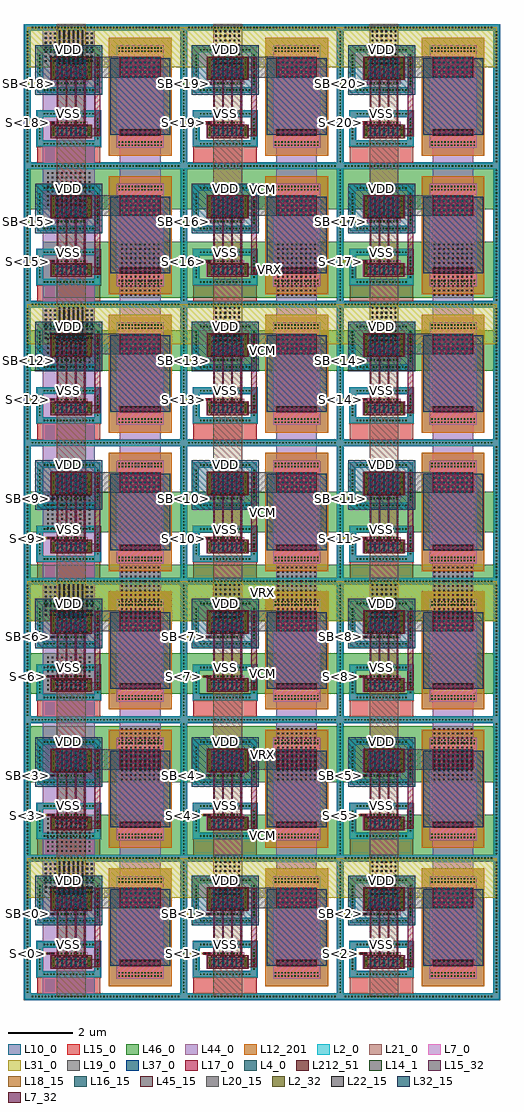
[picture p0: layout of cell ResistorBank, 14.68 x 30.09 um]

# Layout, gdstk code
import gdstk
lib = gdstk.Library(unit=1e-6, precision=1e-09)
def R(c, l, rs):  # rectangles x0, y0, x1, y1
    for r in rs: c.add(gdstk.rectangle(r[:2], r[2:], *l))
def A(c, l, x, y, w, h, nx, ny, dx, dy):  # array of equal rectangles
    R(c, l, [(x+i*dx, y+j*dy, x+i*dx+w, y+j*dy+h) for i in range(nx) for j in range(ny)])
L2_0 = (2, 0)
L2_32 = (2, 32)
L4_0 = (4, 0)
L7_0 = (7, 0)
L7_32 = (7, 32)
L10_0 = (10, 0)
L12_201 = (12, 201)
L14_1 = (14, 1)
L15_0 = (15, 0)
L15_32 = (15, 32)
L16_15 = (16, 15)
L17_0 = (17, 0)
L18_15 = (18, 15)
L19_0 = (19, 0)
L20_15 = (20, 15)
L21_0 = (21, 0)
L22_15 = (22, 15)
L31_0 = (31, 0)
L32_15 = (32, 15)
L37_0 = (37, 0)
L44_0 = (44, 0)
L45_15 = (45, 15)
L46_0 = (46, 0)
L212_51 = (212, 51)

nmosintransmissiongate = lib.new_cell('NMOSInTransmissionGate')
R(nmosintransmissiongate, L2_0, [(-0.588,-0.152,0.588,0.152)])
R(nmosintransmissiongate, L2_32, [(-0.588,-0.152,-0.512,0.152), (0.512,-0.152,0.588,0.152)])
A(nmosintransmissiongate, L7_0, -0.652, -0.209, 0.044, 0.418, 10, 1, 0.14, 0)
A(nmosintransmissiongate, L7_32, -0.512, -0.209, 0.044, 0.057, 8, 1, 0.14, 0)
A(nmosintransmissiongate, L14_1, -0.58, -0.12, 0.04, 0.04, 9, 3, 0.14, 0.1)
A(nmosintransmissiongate, L15_0, -0.585, -0.152, 0.05, 0.304, 9, 1, 0.14, 0)
A(nmosintransmissiongate, L15_32, -0.585, -0.152, 0.05, 0.304, 9, 1, 0.14, 0)
R(nmosintransmissiongate, L212_51, [(-0.63,-0.208,0.63,0.208)])

pmosintransmissiongate = lib.new_cell('PMOSInTransmissionGate')
R(pmosintransmissiongate, L2_0, [(-0.588,-0.304,0.588,0.304)])
R(pmosintransmissiongate, L2_32, [(-0.588,-0.304,-0.512,0.304), (0.512,-0.304,0.588,0.304)])
A(pmosintransmissiongate, L7_0, -0.652, -0.361, 0.044, 0.722, 10, 1, 0.14, 0)
A(pmosintransmissiongate, L7_32, -0.512, -0.361, 0.044, 0.057, 8, 1, 0.14, 0)
R(pmosintransmissiongate, L10_0, [(-0.644,-0.361,0.644,0.361)])
A(pmosintransmissiongate, L14_1, -0.58, -0.27, 0.04, 0.04, 9, 6, 0.14, 0.1)
A(pmosintransmissiongate, L15_0, -0.585, -0.304, 0.05, 0.608, 9, 1, 0.14, 0)
A(pmosintransmissiongate, L15_32, -0.585, -0.304, 0.05, 0.608, 9, 1, 0.14, 0)
R(pmosintransmissiongate, L212_51, [(-0.63,-0.36,0.63,0.36)])

viamet12met2onpmosoutput = lib.new_cell('ViaMet12Met2OnPMOSOutputInTransmissionGate')
R(viamet12met2onpmosoutput, L15_0, [(-0.025,-0.317,0.025,0.317)])
A(viamet12met2onpmosoutput, L16_15, -0.025, -0.285, 0.05, 0.05, 1, 5, 0, 0.13)
R(viamet12met2onpmosoutput, L17_0, [(-0.025,-0.317,0.025,0.317)])

viamet22met3onpmosoutput = lib.new_cell('ViaMet22Met3OnPMOSOutputInTransmissionGate')
R(viamet22met3onpmosoutput, L17_0, [(-0.025,-0.317,0.025,0.317)])
A(viamet22met3onpmosoutput, L18_15, -0.025, -0.285, 0.05, 0.05, 1, 5, 0, 0.13)
R(viamet22met3onpmosoutput, L19_0, [(-0.025,-0.317,0.025,0.317)])

viamet12met2onnmosoutput = lib.new_cell('ViaMet12Met2OnNMOSOutputInTransmissionGate')
R(viamet12met2onnmosoutput, L15_0, [(-0.025,-0.122,0.025,0.122)])
R(viamet12met2onnmosoutput, L16_15, [(-0.025,-0.09,0.025,-0.04), (-0.025,0.04,0.025,0.09)])
R(viamet12met2onnmosoutput, L17_0, [(-0.025,-0.122,0.025,0.122)])

viamet22met3onnmosoutput = lib.new_cell('ViaMet22Met3OnNMOSOutputInTransmissionGate')
R(viamet22met3onnmosoutput, L17_0, [(-0.025,-0.122,0.025,0.122)])
R(viamet22met3onnmosoutput, L18_15, [(-0.025,-0.09,0.025,-0.04), (-0.025,0.04,0.025,0.09)])
R(viamet22met3onnmosoutput, L19_0, [(-0.025,-0.122,0.025,0.122)])

viapoly2met1onpmoscontro = lib.new_cell('ViaPoly2Met1OnPMOSControlInTransmissionGate')
R(viapoly2met1onpmoscontro, L7_0, [(-0.43,-0.03,0.43,0.03)])
A(viapoly2met1onpmoscontro, L14_1, -0.42, -0.02, 0.04, 0.04, 9, 1, 0.1, 0)
R(viapoly2met1onpmoscontro, L15_0, [(-0.441,-0.041,0.441,0.041)])

viapoly2met1onnmoscontro = lib.new_cell('ViaPoly2Met1OnNMOSControlInTransmissionGate')
R(viapoly2met1onnmoscontro, L7_0, [(-0.43,-0.03,0.43,0.03)])
A(viapoly2met1onnmoscontro, L14_1, -0.42, -0.02, 0.04, 0.04, 9, 1, 0.1, 0)
R(viapoly2met1onnmoscontro, L15_0, [(-0.441,-0.041,0.441,0.041)])

transmissiongateinresist = lib.new_cell('TransmissionGateInResistorBank')
transmissiongateinresist.add(gdstk.FlexPath([(-0.49,0.379),(-0.49,0.674)], 0.044, ends="flush", simple_path=True, layer=7, datatype=0))  # L7_0
transmissiongateinresist.add(gdstk.FlexPath([(-0.35,0.379),(-0.35,0.674)], 0.044, ends="flush", simple_path=True, layer=7, datatype=0))  # L7_0
transmissiongateinresist.add(gdstk.FlexPath([(-0.21,0.379),(-0.21,0.674)], 0.044, ends="flush", simple_path=True, layer=7, datatype=0))  # L7_0
transmissiongateinresist.add(gdstk.FlexPath([(-0.07,0.379),(-0.07,0.674)], 0.044, ends="flush", simple_path=True, layer=7, datatype=0))  # L7_0
transmissiongateinresist.add(gdstk.FlexPath([(0.07,0.379),(0.07,0.674)], 0.044, ends="flush", simple_path=True, layer=7, datatype=0))  # L7_0
transmissiongateinresist.add(gdstk.FlexPath([(0.21,0.379),(0.21,0.674)], 0.044, ends="flush", simple_path=True, layer=7, datatype=0))  # L7_0
transmissiongateinresist.add(gdstk.FlexPath([(0.35,0.379),(0.35,0.674)], 0.044, ends="flush", simple_path=True, layer=7, datatype=0))  # L7_0
transmissiongateinresist.add(gdstk.FlexPath([(0.49,0.379),(0.49,0.674)], 0.044, ends="flush", simple_path=True, layer=7, datatype=0))  # L7_0
transmissiongateinresist.add(gdstk.FlexPath([(-0.49,2.324),(-0.49,1.834)], 0.044, ends="flush", simple_path=True, layer=7, datatype=0))  # L7_0
transmissiongateinresist.add(gdstk.FlexPath([(-0.35,2.324),(-0.35,1.834)], 0.044, ends="flush", simple_path=True, layer=7, datatype=0))  # L7_0
transmissiongateinresist.add(gdstk.FlexPath([(-0.21,2.324),(-0.21,1.834)], 0.044, ends="flush", simple_path=True, layer=7, datatype=0))  # L7_0
transmissiongateinresist.add(gdstk.FlexPath([(-0.07,2.324),(-0.07,1.834)], 0.044, ends="flush", simple_path=True, layer=7, datatype=0))  # L7_0
transmissiongateinresist.add(gdstk.FlexPath([(0.07,2.324),(0.07,1.834)], 0.044, ends="flush", simple_path=True, layer=7, datatype=0))  # L7_0
transmissiongateinresist.add(gdstk.FlexPath([(0.21,2.324),(0.21,1.834)], 0.044, ends="flush", simple_path=True, layer=7, datatype=0))  # L7_0
transmissiongateinresist.add(gdstk.FlexPath([(0.35,2.324),(0.35,1.834)], 0.044, ends="flush", simple_path=True, layer=7, datatype=0))  # L7_0
transmissiongateinresist.add(gdstk.FlexPath([(0.49,2.324),(0.49,1.834)], 0.044, ends="flush", simple_path=True, layer=7, datatype=0))  # L7_0
transmissiongateinresist.add(gdstk.FlexPath([(-0.49,0.644),(0.49,0.644)], 0.06, ends="flush", simple_path=True, layer=7, datatype=0))  # L7_0
transmissiongateinresist.add(gdstk.FlexPath([(-0.49,1.864),(0.49,1.864)], 0.06, ends="flush", simple_path=True, layer=7, datatype=0))  # L7_0
transmissiongateinresist.add(gdstk.Reference(nmosintransmissiongate, (0,0.379), x_reflection=True))
transmissiongateinresist.add(gdstk.Reference(pmosintransmissiongate, (0,2.324)))
transmissiongateinresist.add(gdstk.Reference(viamet12met2onpmosoutput, (-0.42,2.292)))
transmissiongateinresist.add(gdstk.Reference(viamet12met2onpmosoutput, (-0.14,2.292)))
transmissiongateinresist.add(gdstk.Reference(viamet12met2onpmosoutput, (0.14,2.292)))
transmissiongateinresist.add(gdstk.Reference(viamet12met2onpmosoutput, (0.42,2.292)))
transmissiongateinresist.add(gdstk.Reference(viamet12met2onpmosoutput, (-0.56,2.356)))
transmissiongateinresist.add(gdstk.Reference(viamet12met2onpmosoutput, (-0.28,2.356)))
transmissiongateinresist.add(gdstk.Reference(viamet12met2onpmosoutput, (0,2.356)))
transmissiongateinresist.add(gdstk.Reference(viamet12met2onpmosoutput, (0.28,2.356)))
transmissiongateinresist.add(gdstk.Reference(viamet12met2onpmosoutput, (0.56,2.356)))
transmissiongateinresist.add(gdstk.Reference(viamet22met3onpmosoutput, (-0.56,2.356)))
transmissiongateinresist.add(gdstk.Reference(viamet22met3onpmosoutput, (-0.28,2.356)))
transmissiongateinresist.add(gdstk.Reference(viamet22met3onpmosoutput, (0,2.356)))
transmissiongateinresist.add(gdstk.Reference(viamet22met3onpmosoutput, (0.28,2.356)))
transmissiongateinresist.add(gdstk.Reference(viamet22met3onpmosoutput, (0.56,2.356)))
transmissiongateinresist.add(gdstk.Reference(viamet12met2onnmosoutput, (-0.42,0.411)))
transmissiongateinresist.add(gdstk.Reference(viamet12met2onnmosoutput, (-0.14,0.411)))
transmissiongateinresist.add(gdstk.Reference(viamet12met2onnmosoutput, (0.14,0.411)))
transmissiongateinresist.add(gdstk.Reference(viamet12met2onnmosoutput, (0.42,0.411)))
transmissiongateinresist.add(gdstk.Reference(viamet12met2onnmosoutput, (-0.56,0.347)))
transmissiongateinresist.add(gdstk.Reference(viamet12met2onnmosoutput, (-0.28,0.347)))
transmissiongateinresist.add(gdstk.Reference(viamet12met2onnmosoutput, (0,0.347)))
transmissiongateinresist.add(gdstk.Reference(viamet12met2onnmosoutput, (0.28,0.347)))
transmissiongateinresist.add(gdstk.Reference(viamet12met2onnmosoutput, (0.56,0.347)))
transmissiongateinresist.add(gdstk.Reference(viamet22met3onnmosoutput, (-0.56,0.347)))
transmissiongateinresist.add(gdstk.Reference(viamet22met3onnmosoutput, (-0.28,0.347)))
transmissiongateinresist.add(gdstk.Reference(viamet22met3onnmosoutput, (0,0.347)))
transmissiongateinresist.add(gdstk.Reference(viamet22met3onnmosoutput, (0.28,0.347)))
transmissiongateinresist.add(gdstk.Reference(viamet22met3onnmosoutput, (0.56,0.347)))
transmissiongateinresist.add(gdstk.Reference(viapoly2met1onpmoscontro, (0,1.864)))
transmissiongateinresist.add(gdstk.Reference(viapoly2met1onnmoscontro, (0,0.644)))

viamet12met2oninputinres = lib.new_cell('ViaMet12Met2OnInputInResistorBank')
R(viamet12met2oninputinres, L15_0, [(-0.122,-0.025,0.122,0.025)])
R(viamet12met2oninputinres, L16_15, [(-0.09,-0.025,-0.04,0.025), (0.04,-0.025,0.09,0.025)])
R(viamet12met2oninputinres, L17_0, [(-0.122,-0.025,0.122,0.025)])

viamet22met3oninputinres = lib.new_cell('ViaMet22Met3OnInputInResistorBank')
R(viamet22met3oninputinres, L17_0, [(-0.122,-0.025,0.122,0.025)])
R(viamet22met3oninputinres, L18_15, [(-0.09,-0.025,-0.04,0.025), (0.04,-0.025,0.09,0.025)])
R(viamet22met3oninputinres, L19_0, [(-0.122,-0.025,0.122,0.025)])

viamet32met4oninputinres = lib.new_cell('ViaMet32Met4OnInputInResistorBank')
R(viamet32met4oninputinres, L19_0, [(-0.122,-0.025,0.122,0.025)])
R(viamet32met4oninputinres, L20_15, [(-0.09,-0.025,-0.04,0.025), (0.04,-0.025,0.09,0.025)])
R(viamet32met4oninputinres, L21_0, [(-0.122,-0.025,0.122,0.025)])

viamet42met5oninputinres = lib.new_cell('ViaMet42Met5OnInputInResistorBank')
R(viamet42met5oninputinres, L21_0, [(-0.122,-0.025,0.122,0.025)])
R(viamet42met5oninputinres, L22_15, [(-0.09,-0.025,-0.04,0.025), (0.04,-0.025,0.09,0.025)])
R(viamet42met5oninputinres, L31_0, [(-0.122,-0.025,0.122,0.025)])

opppcresinresistorbank = lib.new_cell('OpppcresInResistorBank')
R(opppcresinresistorbank, L7_0, [(-0.726,-1.579,0.726,1.579)])
R(opppcresinresistorbank, L10_0, [(-0.966,-1.819,0.966,1.819)])
R(opppcresinresistorbank, L12_201, [(-0.966,-1.819,0.966,1.819)])
A(opppcresinresistorbank, L14_1, -0.67, -1.519, 0.04, 0.04, 14, 2, 0.1, 0.1)
A(opppcresinresistorbank, L14_1, -0.67, 1.379, 0.04, 0.04, 14, 2, 0.1, 0.1)
R(opppcresinresistorbank, L15_0, [(-0.682,-1.531,0.682,-1.367), (-0.682,1.367,0.682,1.531)])
R(opppcresinresistorbank, L37_0, [(-0.926,-1.179,0.926,1.179)])

pmossubringinresistorban = lib.new_cell('PMOSSubringInResistorBank')
R(pmossubringinresistorban, L2_0, [(-0.978,-0.707,0.978,-0.537), (-0.978,-0.707,-0.808,0.707), (0.808,-0.707,0.978,0.707), (-0.978,0.537,0.978,0.707)])
A(pmossubringinresistorban, L14_1, -0.77, -0.642, 0.04, 0.04, 16, 2, 0.1, 1.244)
A(pmossubringinresistorban, L14_1, -0.913, -0.47, 0.04, 0.04, 1, 10, 0, 0.1)
A(pmossubringinresistorban, L14_1, 0.873, -0.47, 0.04, 0.04, 1, 10, 0, 0.1)
R(pmossubringinresistorban, L15_0, [(-0.978,-0.707,0.978,-0.537), (-0.978,-0.707,-0.808,0.707), (0.808,-0.707,0.978,0.707), (-0.978,0.537,0.978,0.707)])
pmossubringinresistorban.add(gdstk.FlexPath([(0.893,0.763),(0.893,-0.622),(-0.893,-0.622),(-0.893,0.622),(1.034,0.622)], 0.282, ends="flush", simple_path=True, layer=4, datatype=0))  # L4_0

nmossubringinresistorban = lib.new_cell('NMOSSubringInResistorBank')
R(nmossubringinresistorban, L2_0, [(-0.978,-0.546,0.978,-0.376), (-0.978,-0.546,-0.808,0.546), (0.808,-0.546,0.978,0.546), (-0.978,0.376,0.978,0.546)])
A(nmossubringinresistorban, L14_1, -0.77, -0.481, 0.04, 0.04, 16, 2, 0.1, 0.922)
A(nmossubringinresistorban, L14_1, -0.913, -0.32, 0.04, 0.04, 1, 7, 0, 0.1)
A(nmossubringinresistorban, L14_1, 0.873, -0.32, 0.04, 0.04, 1, 7, 0, 0.1)
R(nmossubringinresistorban, L15_0, [(-0.978,-0.546,0.978,-0.376), (-0.978,-0.546,-0.808,0.546), (0.808,-0.546,0.978,0.546), (-0.978,0.376,0.978,0.546)])
nmossubringinresistorban.add(gdstk.FlexPath([(0.893,0.567),(0.893,-0.461),(-0.893,-0.461),(-0.893,0.461),(0.999,0.461)], 0.212, ends="flush", simple_path=True, layer=10, datatype=0))  # L10_0

totalsubringinresistorba = lib.new_cell('TotalSubringInResistorBank')
R(totalsubringinresistorba, L2_0, [(-2.496,-2.219,2.496,-2.049), (-2.496,-2.219,-2.326,2.219), (2.326,-2.219,2.496,2.219), (-2.496,2.049,2.496,2.219)])
A(totalsubringinresistorba, L14_1, -2.27, -2.154, 0.04, 0.04, 46, 2, 0.1, 4.268)
A(totalsubringinresistorba, L14_1, -2.431, -2.02, 0.04, 0.04, 1, 41, 0, 0.1)
A(totalsubringinresistorba, L14_1, 2.391, -2.02, 0.04, 0.04, 1, 41, 0, 0.1)
R(totalsubringinresistorba, L15_0, [(-2.496,-2.219,2.496,-2.049), (-2.496,-2.219,-2.326,2.219), (2.326,-2.219,2.496,2.219), (-2.496,2.049,2.496,2.219)])
totalsubringinresistorba.add(gdstk.FlexPath([(2.411,2.24),(2.411,-2.134),(-2.411,-2.134),(-2.411,2.134),(2.517,2.134)], 0.212, ends="flush", simple_path=True, layer=10, datatype=0))  # L10_0

viamet12met2onresistorin = lib.new_cell('ViaMet12Met2OnResistorInResistorBank')
R(viamet12met2onresistorin, L15_0, [(-0.625,-0.309,0.625,0.309)])
A(viamet12met2onresistorin, L16_15, -0.593, -0.309, 0.05, 0.05, 9, 5, 0.142, 0.142)
R(viamet12met2onresistorin, L17_0, [(-0.625,-0.309,0.625,0.309)])

viamet12met2onresistor1i = lib.new_cell('ViaMet12Met2OnResistor1InResistorBank')
R(viamet12met2onresistor1i, L15_0, [(-0.625,-0.096,0.625,0.096)])
A(viamet12met2onresistor1i, L16_15, -0.593, -0.096, 0.05, 0.05, 9, 2, 0.142, 0.142)
R(viamet12met2onresistor1i, L17_0, [(-0.625,-0.096,0.625,0.096)])

viamet22met3onresistorin = lib.new_cell('ViaMet22Met3OnResistorInResistorBank')
R(viamet22met3onresistorin, L17_0, [(-0.625,-0.309,0.625,0.309)])
A(viamet22met3onresistorin, L18_15, -0.593, -0.309, 0.05, 0.05, 9, 5, 0.142, 0.142)
R(viamet22met3onresistorin, L19_0, [(-0.625,-0.309,0.625,0.309)])

viamet22met3onresistor1i = lib.new_cell('ViaMet22Met3OnResistor1InResistorBank')
R(viamet22met3onresistor1i, L17_0, [(-0.625,-0.096,0.625,0.096)])
A(viamet22met3onresistor1i, L18_15, -0.593, -0.096, 0.05, 0.05, 9, 2, 0.142, 0.142)
R(viamet22met3onresistor1i, L19_0, [(-0.625,-0.096,0.625,0.096)])

viamet32met4onresistorin = lib.new_cell('ViaMet32Met4OnResistorInResistorBank')
R(viamet32met4onresistorin, L19_0, [(-0.625,-0.096,0.625,0.096)])
A(viamet32met4onresistorin, L20_15, -0.593, -0.096, 0.05, 0.05, 9, 2, 0.142, 0.142)
R(viamet32met4onresistorin, L21_0, [(-0.625,-0.096,0.625,0.096)])

viamet42met5onresistorin = lib.new_cell('ViaMet42Met5OnResistorInResistorBank')
R(viamet42met5onresistorin, L21_0, [(-0.625,-0.096,0.625,0.096)])
A(viamet42met5onresistorin, L22_15, -0.593, -0.096, 0.05, 0.05, 9, 2, 0.142, 0.142)
R(viamet42met5onresistorin, L31_0, [(-0.625,-0.096,0.625,0.096)])

viamet52met6onresistorin = lib.new_cell('ViaMet52Met6OnResistorInResistorBank')
R(viamet52met6onresistorin, L31_0, [(-0.625,-0.096,0.625,0.096)])
A(viamet52met6onresistorin, L32_15, -0.593, -0.096, 0.05, 0.05, 9, 2, 0.142, 0.142)
R(viamet52met6onresistorin, L44_0, [(-0.625,-0.096,0.625,0.096)])

viavcmmet22met3inresisto = lib.new_cell('ViaVCMMet22Met3InResistorBank')
R(viavcmmet22met3inresisto, L17_0, [(-0.025,-0.577,0.025,0.577)])
A(viavcmmet22met3inresisto, L18_15, -0.025, -0.545, 0.05, 0.05, 1, 9, 0, 0.13)
R(viavcmmet22met3inresisto, L19_0, [(-0.025,-0.577,0.025,0.577)])

viavcmmet32met4inresisto = lib.new_cell('ViaVCMMet32Met4InResistorBank')
R(viavcmmet32met4inresisto, L19_0, [(-0.025,-0.577,0.025,0.577)])
A(viavcmmet32met4inresisto, L20_15, -0.025, -0.545, 0.05, 0.05, 1, 9, 0, 0.13)
R(viavcmmet32met4inresisto, L21_0, [(-0.025,-0.577,0.025,0.577)])

viatgpmos2resmet22met3in = lib.new_cell('ViaTGPMOS2ResMet22Met3InResistorBank')
R(viatgpmos2resmet22met3in, L17_0, [(-0.057,-0.285,0.057,0.285)])
A(viatgpmos2resmet22met3in, L18_15, -0.025, -0.285, 0.05, 0.05, 1, 5, 0, 0.13)
R(viatgpmos2resmet22met3in, L19_0, [(-0.057,-0.285,0.057,0.285)])

viatgnmos2resmet22met3in = lib.new_cell('ViaTGNMOS2ResMet22Met3InResistorBank')
R(viatgnmos2resmet22met3in, L17_0, [(-0.057,-0.09,0.057,0.09)])
R(viatgnmos2resmet22met3in, L18_15, [(-0.025,-0.09,0.025,-0.04), (-0.025,0.04,0.025,0.09)])
R(viatgnmos2resmet22met3in, L19_0, [(-0.057,-0.09,0.057,0.09)])

resistorbankinfullresist = lib.new_cell('ResistorBankInFullResistorBank')
R(resistorbankinfullresist, L15_0, [(-1.053,-0.77,0.903,0.084)])
A(resistorbankinfullresist, L17_0, -0.445, 0.289, 0.05, 2.32, 4, 1, 0.28, 0)
R(resistorbankinfullresist, L21_0, [(-0.42,0.677,0.42,1.831)])
resistorbankinfullresist.add(gdstk.FlexPath([(-0.633,1.864),(-1.35,1.864)], 0.05, ends="flush", simple_path=True, layer=31, datatype=0))  # L31_0
resistorbankinfullresist.add(gdstk.FlexPath([(-0.633,0.644),(-1.35,0.644)], 0.05, ends="flush", simple_path=True, layer=31, datatype=0))  # L31_0
resistorbankinfullresist.add(gdstk.FlexPath([(-0.883,2.276),(0.733,2.276)], 1.073, ends="flush", simple_path=True, layer=4, datatype=0))  # L4_0
resistorbankinfullresist.add(gdstk.FlexPath([(-0.755,1.864),(0,1.864)], 0.082, ends="flush", simple_path=True, layer=15, datatype=0))  # L15_0
resistorbankinfullresist.add(gdstk.FlexPath([(-0.755,0.644),(0,0.644)], 0.082, ends="flush", simple_path=True, layer=15, datatype=0))  # L15_0
resistorbankinfullresist.add(gdstk.FlexPath([(2.13,2.047),(2.13,2.98)], 1.364, ends="flush", simple_path=True, layer=15, datatype=0))  # L15_0
resistorbankinfullresist.add(gdstk.FlexPath([(2.13,0.443),(2.13,-0.082)], 1.364, ends="flush", simple_path=True, layer=15, datatype=0))  # L15_0
resistorbankinfullresist.add(gdstk.FlexPath([(-0.56,2.356),(2.755,2.356)], 0.634, ends="flush", simple_path=True, layer=19, datatype=0))  # L19_0
resistorbankinfullresist.add(gdstk.FlexPath([(-0.56,0.347),(0.903,0.347)], 0.244, ends="flush", simple_path=True, layer=19, datatype=0))  # L19_0
resistorbankinfullresist.add(gdstk.FlexPath([(0.818,2.673),(0.818,0.225)], 0.17, ends="flush", simple_path=True, layer=17, datatype=0))  # L17_0
resistorbankinfullresist.add(gdstk.Reference(transmissiongateinresist, (0,0)))
resistorbankinfullresist.add(gdstk.Reference(viamet12met2oninputinres, (-0.633,1.864)))
resistorbankinfullresist.add(gdstk.Reference(viamet12met2oninputinres, (-0.633,0.644)))
resistorbankinfullresist.add(gdstk.Reference(viamet22met3oninputinres, (-0.633,1.864)))
resistorbankinfullresist.add(gdstk.Reference(viamet22met3oninputinres, (-0.633,0.644)))
resistorbankinfullresist.add(gdstk.Reference(viamet32met4oninputinres, (-0.633,1.864)))
resistorbankinfullresist.add(gdstk.Reference(viamet32met4oninputinres, (-0.633,0.644)))
resistorbankinfullresist.add(gdstk.Reference(viamet42met5oninputinres, (-0.633,1.864)))
resistorbankinfullresist.add(gdstk.Reference(viamet42met5oninputinres, (-0.633,0.644)))
resistorbankinfullresist.add(gdstk.Reference(opppcresinresistorbank, (2.13,1.449)))
resistorbankinfullresist.add(gdstk.Reference(pmossubringinresistorban, (-0.075,2.276)))
resistorbankinfullresist.add(gdstk.Reference(nmossubringinresistorban, (-0.075,0.461)))
resistorbankinfullresist.add(gdstk.Reference(totalsubringinresistorba, (1.061,1.449)))
resistorbankinfullresist.add(gdstk.Reference(viamet12met2onresistorin, (2.13,2.356)))
resistorbankinfullresist.add(gdstk.Reference(viamet12met2onresistor1i, (2.13,0.347)))
resistorbankinfullresist.add(gdstk.Reference(viamet22met3onresistorin, (2.13,2.356)))
resistorbankinfullresist.add(gdstk.Reference(viamet22met3onresistor1i, (2.13,0.347)))
resistorbankinfullresist.add(gdstk.Reference(viamet32met4onresistorin, (2.13,0.347)))
resistorbankinfullresist.add(gdstk.Reference(viamet42met5onresistorin, (2.13,0.347)))
resistorbankinfullresist.add(gdstk.Reference(viamet52met6onresistorin, (2.13,0.347)))
resistorbankinfullresist.add(gdstk.Reference(viavcmmet22met3inresisto, (-0.42,1.254)))
resistorbankinfullresist.add(gdstk.Reference(viavcmmet22met3inresisto, (-0.14,1.254)))
resistorbankinfullresist.add(gdstk.Reference(viavcmmet22met3inresisto, (0.14,1.254)))
resistorbankinfullresist.add(gdstk.Reference(viavcmmet22met3inresisto, (0.42,1.254)))
resistorbankinfullresist.add(gdstk.Reference(viavcmmet32met4inresisto, (-0.42,1.254)))
resistorbankinfullresist.add(gdstk.Reference(viavcmmet32met4inresisto, (-0.14,1.254)))
resistorbankinfullresist.add(gdstk.Reference(viavcmmet32met4inresisto, (0.14,1.254)))
resistorbankinfullresist.add(gdstk.Reference(viavcmmet32met4inresisto, (0.42,1.254)))
resistorbankinfullresist.add(gdstk.Reference(viatgpmos2resmet22met3in, (0.818,2.356)))
resistorbankinfullresist.add(gdstk.Reference(viatgnmos2resmet22met3in, (0.818,0.347)))
resistorbankinfullresist.add(gdstk.Label('VDD', (-0.075,2.898), layer=15, texttype=20))
resistorbankinfullresist.add(gdstk.Label('VSS', (-0.075,-0.343), layer=15, texttype=20))
resistorbankinfullresist.add(gdstk.Label('S', (-1.35,0.644), layer=31, texttype=20))
resistorbankinfullresist.add(gdstk.Label('SB', (-1.35,1.864), layer=31, texttype=20))
resistorbankinfullresist.add(gdstk.Label('VRX', (2.13,0.347), layer=44, texttype=20))
resistorbankinfullresist.add(gdstk.Label('VCM', (0,1.254), layer=21, texttype=20))

viamet42met5onvcminfullr = lib.new_cell('ViaMet42Met5OnVCMInFullResistorBank')
R(viamet42met5onvcminfullr, L21_0, [(-0.38,-0.554,0.38,0.554)])
A(viamet42met5onvcminfullr, L22_15, -0.38, -0.522, 0.05, 0.05, 6, 8, 0.142, 0.142)
R(viamet42met5onvcminfullr, L31_0, [(-0.38,-0.554,0.38,0.554)])

viamet52met6onvcminfullr = lib.new_cell('ViaMet52Met6OnVCMInFullResistorBank')
R(viamet52met6onvcminfullr, L31_0, [(-0.735,-0.483,0.735,0.483)])
A(viamet52met6onvcminfullr, L32_15, -0.735, -0.451, 0.05, 0.05, 11, 7, 0.142, 0.142)
R(viamet52met6onvcminfullr, L44_0, [(-0.735,-0.483,0.735,0.483)])

viamet62met7onvrxinfullr = lib.new_cell('ViaMet62Met7OnVRXInFullResistorBank')
R(viamet62met7onvrxinfullr, L44_0, [(-0.593,-0.838,0.593,0.838)])
A(viamet62met7onvrxinfullr, L45_15, -0.593, -0.806, 0.05, 0.05, 9, 12, 0.142, 0.142)
R(viamet62met7onvrxinfullr, L46_0, [(-0.593,-0.838,0.593,0.838)])

viamet62met7onvcminfullr = lib.new_cell('ViaMet62Met7OnVCMInFullResistorBank')
R(viamet62met7onvcminfullr, L44_0, [(-0.696,-0.522,0.696,0.522)])
A(viamet62met7onvcminfullr, L45_15, -0.664, -0.522, 0.05, 0.05, 10, 8, 0.142, 0.142)
R(viamet62met7onvcminfullr, L46_0, [(-0.696,-0.522,0.696,0.522)])

resistorbank = lib.new_cell('ResistorBank')
resistorbank.add(gdstk.FlexPath([(0,-0.684),(0,29.276)], 0.89, ends="flush", simple_path=True, layer=21, datatype=0))  # L21_0
resistorbank.add(gdstk.FlexPath([(4.822,-0.684),(4.822,29.276)], 0.89, ends="flush", simple_path=True, layer=21, datatype=0))  # L21_0
resistorbank.add(gdstk.FlexPath([(9.644,-0.684),(9.644,29.276)], 0.89, ends="flush", simple_path=True, layer=21, datatype=0))  # L21_0
resistorbank.add(gdstk.FlexPath([(-1.35,2.97),(13.116,2.97)], 1.228, ends="flush", simple_path=True, layer=31, datatype=0))  # L31_0
resistorbank.add(gdstk.FlexPath([(-1.35,11.506),(13.116,11.506)], 1.228, ends="flush", simple_path=True, layer=31, datatype=0))  # L31_0
resistorbank.add(gdstk.FlexPath([(-1.35,20.042),(13.116,20.042)], 1.228, ends="flush", simple_path=True, layer=31, datatype=0))  # L31_0
resistorbank.add(gdstk.FlexPath([(-1.35,28.578),(13.116,28.578)], 1.228, ends="flush", simple_path=True, layer=31, datatype=0))  # L31_0
resistorbank.add(gdstk.FlexPath([(-0.074,-0.684),(-0.074,29.276)], 1.616, ends="flush", simple_path=True, layer=44, datatype=0))  # L44_0
resistorbank.add(gdstk.FlexPath([(2.13,0.347),(2.13,25.955)], 1.25, ends="flush", simple_path=True, layer=44, datatype=0))  # L44_0
resistorbank.add(gdstk.FlexPath([(6.952,0.347),(6.952,25.955)], 1.25, ends="flush", simple_path=True, layer=44, datatype=0))  # L44_0
resistorbank.add(gdstk.FlexPath([(11.774,0.347),(11.774,25.955)], 1.25, ends="flush", simple_path=True, layer=44, datatype=0))  # L44_0
resistorbank.add(gdstk.FlexPath([(-1.35,4.294),(13.116,4.294)], 1.25, ends="flush", simple_path=True, layer=46, datatype=0))  # L46_0
resistorbank.add(gdstk.FlexPath([(-1.35,9.274),(13.116,9.274)], 1.25, ends="flush", simple_path=True, layer=46, datatype=0))  # L46_0
resistorbank.add(gdstk.FlexPath([(-1.35,14.252),(13.116,14.252)], 1.25, ends="flush", simple_path=True, layer=46, datatype=0))  # L46_0
resistorbank.add(gdstk.FlexPath([(-1.35,19.232),(13.116,19.232)], 1.25, ends="flush", simple_path=True, layer=46, datatype=0))  # L46_0
resistorbank.add(gdstk.FlexPath([(-1.35,24.21),(13.116,24.21)], 1.25, ends="flush", simple_path=True, layer=46, datatype=0))  # L46_0
resistorbank.add(gdstk.FlexPath([(-1.35,6.784),(13.116,6.784)], 1.73, ends="flush", simple_path=True, layer=46, datatype=0))  # L46_0
resistorbank.add(gdstk.FlexPath([(-1.35,11.762),(13.116,11.762)], 1.73, ends="flush", simple_path=True, layer=46, datatype=0))  # L46_0
resistorbank.add(gdstk.FlexPath([(-0.882,21.72),(13.116,21.72)], 1.73, ends="flush", simple_path=True, layer=46, datatype=0))  # L46_0
resistorbank.add(gdstk.Reference(resistorbankinfullresist, (0,0)))
resistorbank.add(gdstk.Reference(resistorbankinfullresist, (0,4.268)))
resistorbank.add(gdstk.Reference(resistorbankinfullresist, (0,8.536)))
resistorbank.add(gdstk.Reference(resistorbankinfullresist, (0,12.804)))
resistorbank.add(gdstk.Reference(resistorbankinfullresist, (0,17.072)))
resistorbank.add(gdstk.Reference(resistorbankinfullresist, (0,21.34)))
resistorbank.add(gdstk.Reference(resistorbankinfullresist, (0,25.608)))
resistorbank.add(gdstk.Reference(resistorbankinfullresist, (4.822,0)))
resistorbank.add(gdstk.Reference(resistorbankinfullresist, (4.822,4.268)))
resistorbank.add(gdstk.Reference(resistorbankinfullresist, (4.822,8.536)))
resistorbank.add(gdstk.Reference(resistorbankinfullresist, (4.822,12.804)))
resistorbank.add(gdstk.Reference(resistorbankinfullresist, (4.822,17.072)))
resistorbank.add(gdstk.Reference(resistorbankinfullresist, (4.822,21.34)))
resistorbank.add(gdstk.Reference(resistorbankinfullresist, (4.822,25.608)))
resistorbank.add(gdstk.Reference(resistorbankinfullresist, (9.644,0)))
resistorbank.add(gdstk.Reference(resistorbankinfullresist, (9.644,4.268)))
resistorbank.add(gdstk.Reference(resistorbankinfullresist, (9.644,8.536)))
resistorbank.add(gdstk.Reference(resistorbankinfullresist, (9.644,12.804)))
resistorbank.add(gdstk.Reference(resistorbankinfullresist, (9.644,17.072)))
resistorbank.add(gdstk.Reference(resistorbankinfullresist, (9.644,21.34)))
resistorbank.add(gdstk.Reference(resistorbankinfullresist, (9.644,25.608)))
resistorbank.add(gdstk.Reference(viamet42met5onvcminfullr, (0,2.97)))
resistorbank.add(gdstk.Reference(viamet42met5onvcminfullr, (0,11.506)))
resistorbank.add(gdstk.Reference(viamet42met5onvcminfullr, (0,20.042)))
resistorbank.add(gdstk.Reference(viamet42met5onvcminfullr, (0,28.578)))
resistorbank.add(gdstk.Reference(viamet42met5onvcminfullr, (4.822,2.97)))
resistorbank.add(gdstk.Reference(viamet42met5onvcminfullr, (4.822,11.506)))
resistorbank.add(gdstk.Reference(viamet42met5onvcminfullr, (4.822,20.042)))
resistorbank.add(gdstk.Reference(viamet42met5onvcminfullr, (4.822,28.578)))
resistorbank.add(gdstk.Reference(viamet42met5onvcminfullr, (9.644,2.97)))
resistorbank.add(gdstk.Reference(viamet42met5onvcminfullr, (9.644,11.506)))
resistorbank.add(gdstk.Reference(viamet42met5onvcminfullr, (9.644,20.042)))
resistorbank.add(gdstk.Reference(viamet42met5onvcminfullr, (9.644,28.578)))
resistorbank.add(gdstk.Reference(viamet52met6onvcminfullr, (-0.074,2.97)))
resistorbank.add(gdstk.Reference(viamet52met6onvcminfullr, (-0.074,11.506)))
resistorbank.add(gdstk.Reference(viamet52met6onvcminfullr, (-0.074,20.042)))
resistorbank.add(gdstk.Reference(viamet52met6onvcminfullr, (-0.074,28.578)))
resistorbank.add(gdstk.Reference(viamet62met7onvrxinfullr, (2.13,6.784)))
resistorbank.add(gdstk.Reference(viamet62met7onvrxinfullr, (2.13,11.762)))
resistorbank.add(gdstk.Reference(viamet62met7onvrxinfullr, (2.13,21.72)))
resistorbank.add(gdstk.Reference(viamet62met7onvrxinfullr, (6.952,6.784)))
resistorbank.add(gdstk.Reference(viamet62met7onvrxinfullr, (6.952,11.762)))
resistorbank.add(gdstk.Reference(viamet62met7onvrxinfullr, (6.952,21.72)))
resistorbank.add(gdstk.Reference(viamet62met7onvrxinfullr, (11.774,6.784)))
resistorbank.add(gdstk.Reference(viamet62met7onvrxinfullr, (11.774,11.762)))
resistorbank.add(gdstk.Reference(viamet62met7onvrxinfullr, (11.774,21.72)))
resistorbank.add(gdstk.Reference(viamet62met7onvcminfullr, (-0.074,4.294)))
resistorbank.add(gdstk.Reference(viamet62met7onvcminfullr, (-0.074,9.274)))
resistorbank.add(gdstk.Reference(viamet62met7onvcminfullr, (-0.074,14.252)))
resistorbank.add(gdstk.Reference(viamet62met7onvcminfullr, (-0.074,19.232)))
resistorbank.add(gdstk.Reference(viamet62met7onvcminfullr, (-0.074,24.21)))
resistorbank.add(gdstk.Label('S<0>', (-1.35,0.644), layer=31, texttype=20))
resistorbank.add(gdstk.Label('SB<0>', (-1.35,1.864), layer=31, texttype=20))
resistorbank.add(gdstk.Label('S<3>', (-1.35,4.912), layer=31, texttype=20))
resistorbank.add(gdstk.Label('SB<3>', (-1.35,6.132), layer=31, texttype=20))
resistorbank.add(gdstk.Label('S<6>', (-1.35,9.18), layer=31, texttype=20))
resistorbank.add(gdstk.Label('SB<6>', (-1.35,10.4), layer=31, texttype=20))
resistorbank.add(gdstk.Label('S<9>', (-1.35,13.448), layer=31, texttype=20))
resistorbank.add(gdstk.Label('SB<9>', (-1.35,14.668), layer=31, texttype=20))
resistorbank.add(gdstk.Label('S<12>', (-1.35,17.716), layer=31, texttype=20))
resistorbank.add(gdstk.Label('SB<12>', (-1.35,18.936), layer=31, texttype=20))
resistorbank.add(gdstk.Label('S<15>', (-1.35,21.984), layer=31, texttype=20))
resistorbank.add(gdstk.Label('SB<15>', (-1.35,23.204), layer=31, texttype=20))
resistorbank.add(gdstk.Label('S<18>', (-1.35,26.252), layer=31, texttype=20))
resistorbank.add(gdstk.Label('SB<18>', (-1.35,27.472), layer=31, texttype=20))
resistorbank.add(gdstk.Label('S<1>', (3.472,0.644), layer=31, texttype=20))
resistorbank.add(gdstk.Label('SB<1>', (3.472,1.864), layer=31, texttype=20))
resistorbank.add(gdstk.Label('S<4>', (3.472,4.912), layer=31, texttype=20))
resistorbank.add(gdstk.Label('SB<4>', (3.472,6.132), layer=31, texttype=20))
resistorbank.add(gdstk.Label('S<7>', (3.472,9.18), layer=31, texttype=20))
resistorbank.add(gdstk.Label('SB<7>', (3.472,10.4), layer=31, texttype=20))
resistorbank.add(gdstk.Label('S<10>', (3.472,13.448), layer=31, texttype=20))
resistorbank.add(gdstk.Label('SB<10>', (3.472,14.668), layer=31, texttype=20))
resistorbank.add(gdstk.Label('S<13>', (3.472,17.716), layer=31, texttype=20))
resistorbank.add(gdstk.Label('SB<13>', (3.472,18.936), layer=31, texttype=20))
resistorbank.add(gdstk.Label('S<16>', (3.472,21.984), layer=31, texttype=20))
resistorbank.add(gdstk.Label('SB<16>', (3.472,23.204), layer=31, texttype=20))
resistorbank.add(gdstk.Label('S<19>', (3.472,26.252), layer=31, texttype=20))
resistorbank.add(gdstk.Label('SB<19>', (3.472,27.472), layer=31, texttype=20))
resistorbank.add(gdstk.Label('S<2>', (8.294,0.644), layer=31, texttype=20))
resistorbank.add(gdstk.Label('SB<2>', (8.294,1.864), layer=31, texttype=20))
resistorbank.add(gdstk.Label('S<5>', (8.294,4.912), layer=31, texttype=20))
resistorbank.add(gdstk.Label('SB<5>', (8.294,6.132), layer=31, texttype=20))
resistorbank.add(gdstk.Label('S<8>', (8.294,9.18), layer=31, texttype=20))
resistorbank.add(gdstk.Label('SB<8>', (8.294,10.4), layer=31, texttype=20))
resistorbank.add(gdstk.Label('S<11>', (8.294,13.448), layer=31, texttype=20))
resistorbank.add(gdstk.Label('SB<11>', (8.294,14.668), layer=31, texttype=20))
resistorbank.add(gdstk.Label('S<14>', (8.294,17.716), layer=31, texttype=20))
resistorbank.add(gdstk.Label('SB<14>', (8.294,18.936), layer=31, texttype=20))
resistorbank.add(gdstk.Label('S<17>', (8.294,21.984), layer=31, texttype=20))
resistorbank.add(gdstk.Label('SB<17>', (8.294,23.204), layer=31, texttype=20))
resistorbank.add(gdstk.Label('S<20>', (8.294,26.252), layer=31, texttype=20))
resistorbank.add(gdstk.Label('SB<20>', (8.294,27.472), layer=31, texttype=20))
resistorbank.add(gdstk.Label('VRX', (5.883,6.784), layer=46, texttype=20))
resistorbank.add(gdstk.Label('VRX', (5.883,11.762), layer=46, texttype=20))
resistorbank.add(gdstk.Label('VRX', (6.117,21.72), layer=46, texttype=20))
resistorbank.add(gdstk.Label('VDD', (-0.075,2.898), layer=15, texttype=20))
resistorbank.add(gdstk.Label('VDD', (-0.075,7.166), layer=15, texttype=20))
resistorbank.add(gdstk.Label('VDD', (-0.075,11.434), layer=15, texttype=20))
resistorbank.add(gdstk.Label('VDD', (-0.075,15.702), layer=15, texttype=20))
resistorbank.add(gdstk.Label('VDD', (-0.075,19.97), layer=15, texttype=20))
resistorbank.add(gdstk.Label('VDD', (-0.075,24.238), layer=15, texttype=20))
resistorbank.add(gdstk.Label('VDD', (-0.075,28.506), layer=15, texttype=20))
resistorbank.add(gdstk.Label('VDD', (4.747,2.898), layer=15, texttype=20))
resistorbank.add(gdstk.Label('VDD', (4.747,7.166), layer=15, texttype=20))
resistorbank.add(gdstk.Label('VDD', (4.747,11.434), layer=15, texttype=20))
resistorbank.add(gdstk.Label('VDD', (4.747,15.702), layer=15, texttype=20))
resistorbank.add(gdstk.Label('VDD', (4.747,19.97), layer=15, texttype=20))
resistorbank.add(gdstk.Label('VDD', (4.747,24.238), layer=15, texttype=20))
resistorbank.add(gdstk.Label('VDD', (4.747,28.506), layer=15, texttype=20))
resistorbank.add(gdstk.Label('VDD', (9.569,2.898), layer=15, texttype=20))
resistorbank.add(gdstk.Label('VDD', (9.569,7.166), layer=15, texttype=20))
resistorbank.add(gdstk.Label('VDD', (9.569,11.434), layer=15, texttype=20))
resistorbank.add(gdstk.Label('VDD', (9.569,15.702), layer=15, texttype=20))
resistorbank.add(gdstk.Label('VDD', (9.569,19.97), layer=15, texttype=20))
resistorbank.add(gdstk.Label('VDD', (9.569,24.238), layer=15, texttype=20))
resistorbank.add(gdstk.Label('VDD', (9.569,28.506), layer=15, texttype=20))
resistorbank.add(gdstk.Label('VSS', (-0.075,0.922), layer=15, texttype=20))
resistorbank.add(gdstk.Label('VSS', (-0.075,5.19), layer=15, texttype=20))
resistorbank.add(gdstk.Label('VSS', (-0.075,9.458), layer=15, texttype=20))
resistorbank.add(gdstk.Label('VSS', (-0.075,13.726), layer=15, texttype=20))
resistorbank.add(gdstk.Label('VSS', (-0.075,17.994), layer=15, texttype=20))
resistorbank.add(gdstk.Label('VSS', (-0.075,22.262), layer=15, texttype=20))
resistorbank.add(gdstk.Label('VSS', (-0.075,26.53), layer=15, texttype=20))
resistorbank.add(gdstk.Label('VSS', (4.747,0.922), layer=15, texttype=20))
resistorbank.add(gdstk.Label('VSS', (4.747,5.19), layer=15, texttype=20))
resistorbank.add(gdstk.Label('VSS', (4.747,9.458), layer=15, texttype=20))
resistorbank.add(gdstk.Label('VSS', (4.747,13.726), layer=15, texttype=20))
resistorbank.add(gdstk.Label('VSS', (4.747,17.994), layer=15, texttype=20))
resistorbank.add(gdstk.Label('VSS', (4.747,22.262), layer=15, texttype=20))
resistorbank.add(gdstk.Label('VSS', (4.747,26.53), layer=15, texttype=20))
resistorbank.add(gdstk.Label('VSS', (9.569,0.922), layer=15, texttype=20))
resistorbank.add(gdstk.Label('VSS', (9.569,5.19), layer=15, texttype=20))
resistorbank.add(gdstk.Label('VSS', (9.569,9.458), layer=15, texttype=20))
resistorbank.add(gdstk.Label('VSS', (9.569,13.726), layer=15, texttype=20))
resistorbank.add(gdstk.Label('VSS', (9.569,17.994), layer=15, texttype=20))
resistorbank.add(gdstk.Label('VSS', (9.569,22.262), layer=15, texttype=20))
resistorbank.add(gdstk.Label('VSS', (9.569,26.53), layer=15, texttype=20))
resistorbank.add(gdstk.Label('VCM', (5.883,4.294), layer=46, texttype=20))
resistorbank.add(gdstk.Label('VCM', (5.883,9.274), layer=46, texttype=20))
resistorbank.add(gdstk.Label('VCM', (5.883,14.252), layer=46, texttype=20))
resistorbank.add(gdstk.Label('VCM', (5.883,19.232), layer=46, texttype=20))
resistorbank.add(gdstk.Label('VCM', (5.883,24.21), layer=46, texttype=20))

lib.write_gds('ResistorBank.gds')
